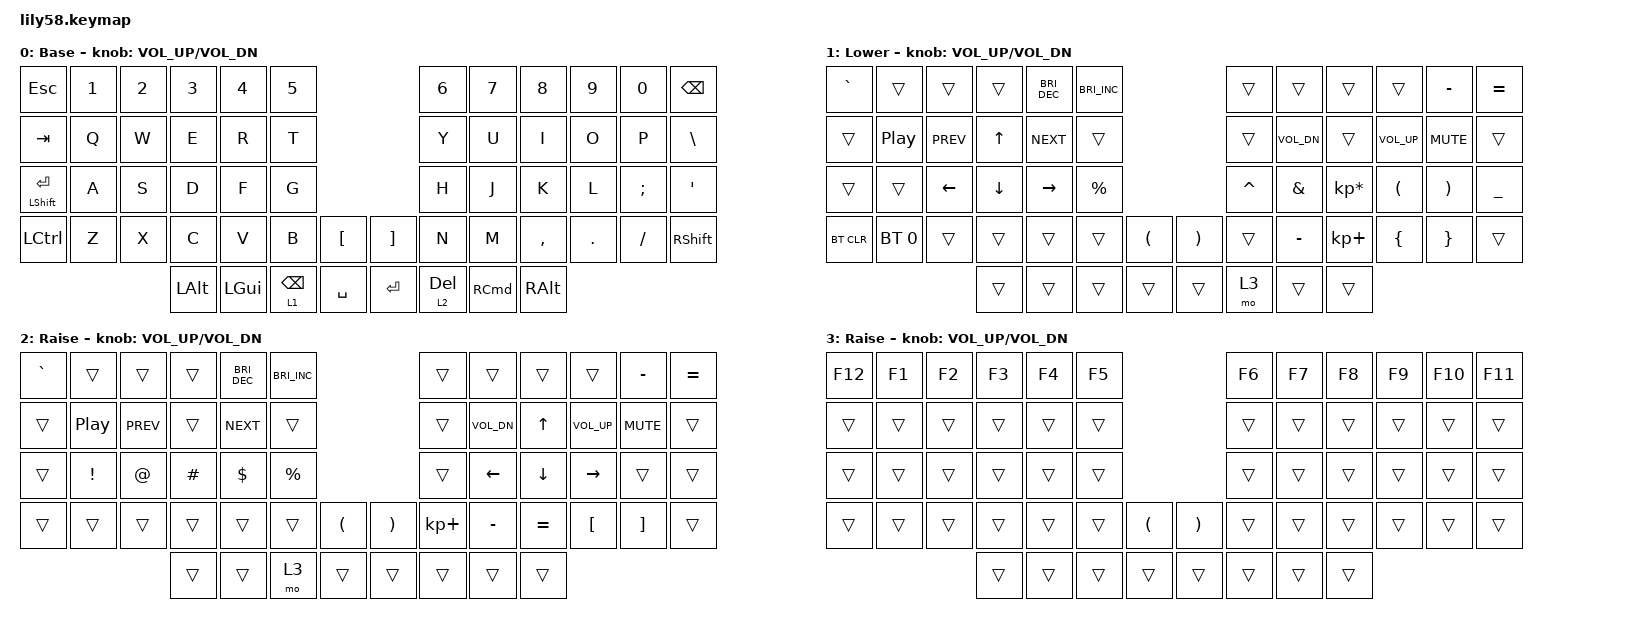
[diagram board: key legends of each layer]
/*
 * Copyright (c) 2020 The ZMK Contributors
 *
 * SPDX-License-Identifier: MIT
 */

#include <behaviors.dtsi>
#include <dt-bindings/zmk/bt.h>
#include <dt-bindings/zmk/keys.h>

/ {
    keymap {
        compatible = "zmk,keymap";

        default_layer {
            // ------------------------------------------------------------------------------------------------------------
            // |  ESC  |  1  |  2  |  3   |  4   |  5   |                   |  6   |  7    |  8    |  9   |   0   |   `   |
            // |  TAB  |  Q  |  W  |  E   |  R   |  T   |                   |  Y   |  U    |  I    |  O   |   P   |   -   |
            // |  CTRL |  A  |  S  |  D   |  F   |  G   |                   |  H   |  J    |  K    |  L   |   ;   |   '   |
            // | SHIFT |  Z  |  X  |  C   |  V   |  B   |   "["  |  |  "]"  |  N   |  M    |  ,    |  .   |   /   | SHIFT |
            //                     | ALT  | GUI  | LOWER|  SPACE |  | ENTER | RAISE| BSPC  | GUI   |

            display-name = "Base";
            bindings = <
&kp ESC               &kp N1  &kp N2  &kp N3    &kp N4    &kp N5                                  &kp N6        &kp N7             &kp N8         &kp N9   &kp N0    &kp BACKSPACE
&kp TAB               &kp Q   &kp W   &kp E     &kp R     &kp T                                   &kp Y         &kp U              &kp I          &kp O    &kp P     &kp BACKSLASH
&mt LEFT_SHIFT ENTER  &kp A   &kp S   &kp D     &kp F     &kp G                                   &kp H         &kp J              &kp K          &kp L    &kp SEMI  &kp SQT
&kp LEFT_CONTROL      &kp Z   &kp X   &kp C     &kp V     &kp B            &kp LBKT     &kp RBKT  &kp N         &kp M              &kp COMMA      &kp DOT  &kp FSLH  &kp RSHFT
                                      &kp LALT  &kp LGUI  &lt 1 BACKSPACE  &kp SPACE    &kp RET   &lt 2 DELETE  &kp RIGHT_COMMAND  &kp RIGHT_ALT
            >;

            sensor-bindings = <&inc_dec_kp C_VOL_UP C_VOL_DN>;
        };

        lower_layer {
            // ------------------------------------------------------------------------------------------------------------
            // | BTCLR | BT1 | BT2 |  BT3 |  BT4 |  BT5 |                   |      |       |       |      |       |       |
            // |  F1   |  F2 |  F3 |  F4  |  F5  |  F6  |                   |  F7  |  F8   |  F9   |  F10 |  F11  |  F12  |
            // |   `   |  !  |  @  |  #   |  $   |  %   |                   |  ^   |  &    |  *    |  (   |   )   |   ~   |
            // |       |     |     |      |      |      |        |  |       |      |  _    |  +    |  {   |   }   |  "|"  |
            //                     |      |      |      |        |  |       |      |       |       |

            display-name = "Lower";
            bindings = <
&kp GRAVE   &trans            &trans      &trans     &kp C_BRIGHTNESS_DEC  &kp C_BRIGHTNESS_INC                                                 &trans     &trans        &trans           &trans        &kp MINUS   &kp EQUAL
&trans      &kp C_PLAY_PAUSE  &kp C_PREV  &kp UP      &kp C_NEXT            &trans                                                               &trans     &kp C_VOL_DN  &trans           &kp C_VOL_UP  &kp C_MUTE  &trans
&trans      &trans            &kp LEFT    &kp DOWN    &kp RIGHT             &kp PRCNT                                                            &kp CARET  &kp AMPS      &kp KP_MULTIPLY  &kp LPAR      &kp RPAR    &kp UNDER
&bt BT_CLR  &bt BT_SEL 0      &trans      &trans      &trans                &trans                &kp LEFT_PARENTHESIS    &kp RIGHT_PARENTHESIS  &trans     &kp MINUS     &kp KP_PLUS      &kp LBRC      &kp RBRC    &trans
                                          &trans      &trans                &trans                &trans                  &trans                 &mo 3      &trans        &trans
            >;

            sensor-bindings = <&inc_dec_kp C_VOL_UP C_VOL_DN>;
        };

        raise_layer {
            // ------------------------------------------------------------------------------------------------------------
            // |       |     |     |      |      |      |                   |      |       |       |      |       |       |
            // |   `   |  1  |  2  |  3   |  4   |  5   |                   |  6   |   7   |   8   |  9   |   0   |       |
            // |   F1  |  F2 |  F3 |  F4  |  F5  |  F6  |                   |      |   <-  |   v   |  ^   |  ->   |       |
            // |   F7  |  F8 |  F9 |  F10 |  F11 |  F12 |        |  |       |  +   |   -   |   =   |  [   |   ]   |   \   |
            //                     |      |      |      |        |  |       |      |       |       |

            display-name = "Raise";
            bindings = <
&kp GRAVE   &trans            &trans      &trans     &kp C_BRIGHTNESS_DEC  &kp C_BRIGHTNESS_INC                                                 &trans     &trans        &trans           &trans        &kp MINUS   &kp EQUAL
&trans      &kp C_PLAY_PAUSE  &kp C_PREV  &trans      &kp C_NEXT            &trans                                                               &trans       &kp C_VOL_DN  &kp UP     &kp C_VOL_UP  &kp C_MUTE  &trans
&trans     &kp EXCL          &kp AT      &kp HASH    &kp DOLLAR            &kp PRCNT                                                            &trans       &kp LEFT      &kp DOWN   &kp RIGHT     &trans      &trans
&trans     &trans            &trans      &trans      &trans                &trans                &kp LEFT_PARENTHESIS    &kp RIGHT_PARENTHESIS  &kp KP_PLUS  &kp MINUS     &kp EQUAL  &kp LBKT      &kp RBKT    &trans
                                         &trans      &trans                &mo 3                 &trans                  &trans                 &trans       &trans        &trans
            >;

            sensor-bindings = <&inc_dec_kp C_VOL_UP C_VOL_DN>;
        };

        extra_1 {
            // ------------------------------------------------------------------------------------------------------------
            // |       |     |     |      |      |      |                   |      |       |       |      |       |       |
            // |   `   |  1  |  2  |  3   |  4   |  5   |                   |  6   |   7   |   8   |  9   |   0   |       |
            // |   F1  |  F2 |  F3 |  F4  |  F5  |  F6  |                   |      |   <-  |   v   |  ^   |  ->   |       |
            // |   F7  |  F8 |  F9 |  F10 |  F11 |  F12 |        |  |       |  +   |   -   |   =   |  [   |   ]   |   \   |
            //                     |      |      |      |        |  |       |      |       |       |

            display-name = "Raise";
            bindings = <
&kp F12  &kp F1  &kp F2  &kp F3  &kp F4  &kp F5                                                 &kp F6  &kp F7  &kp F8  &kp F9  &kp F10  &kp F11
&trans   &trans  &trans  &trans  &trans  &trans                                                 &trans  &trans  &trans  &trans  &trans   &trans
&trans   &trans  &trans  &trans  &trans  &trans                                                 &trans  &trans  &trans  &trans  &trans   &trans
&trans   &trans  &trans  &trans  &trans  &trans  &kp LEFT_PARENTHESIS    &kp RIGHT_PARENTHESIS  &trans  &trans  &trans  &trans  &trans   &trans
                         &trans  &trans  &trans  &trans                  &trans                 &trans  &trans  &trans
            >;

            sensor-bindings = <&inc_dec_kp C_VOL_UP C_VOL_DN>;
        };

        extra_2 { status = "reserved"; };

        extra_3 { status = "reserved"; };
    };
};
